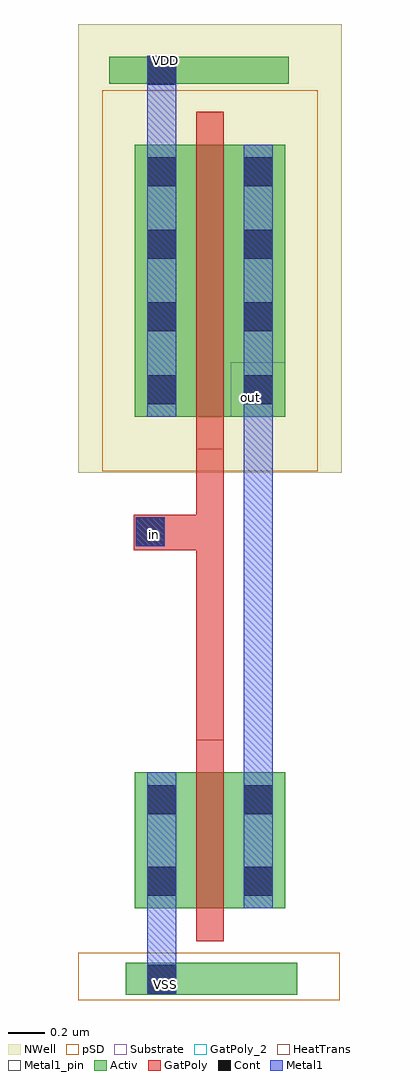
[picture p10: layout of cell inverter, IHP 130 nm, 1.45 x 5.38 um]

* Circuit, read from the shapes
.subckt inverter VDD VSS in out
XM1 out in VSS VSS sg13_lv_nmos w=0.75u l=0.15u
XM2 out in VDD VDD sg13_lv_pmos w=1.5u l=0.15u
.ends

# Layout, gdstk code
import gdstk
lib = gdstk.Library(unit=1e-6, precision=5e-09)
def R(c, l, rs):  # rectangles x0, y0, x1, y1
    for r in rs: c.add(gdstk.rectangle(r[:2], r[2:], *l))
def A(c, l, x, y, w, h, nx, ny, dx, dy):  # array of equal rectangles
    R(c, l, [(x+i*dx, y+j*dy, x+i*dx+w, y+j*dy+h) for i in range(nx) for j in range(ny)])
Activ = (1, 0)
GatPoly = (5, 0)
GatPoly_2 = (5, 2)
Cont = (6, 0)
Metal1 = (8, 0)
Metal1_pin = (8, 2)
pSD = (14, 0)
NWell = (31, 0)
Substrate = (40, 0)
HeatTrans = (51, 0)

nmos = lib.new_cell('nmos')
R(nmos, Activ, [(0,0,0.3,0.3), (0,0,0.83,0.75), (0.53,0,0.83,0.3)])
R(nmos, GatPoly, [(0.34,-0.18,0.49,0.93)])
R(nmos, GatPoly_2, [(0.34,-0.18,0.49,0.93)])
R(nmos, Cont, [(0.07,0.07,0.23,0.23), (0.6,0.07,0.76,0.23), (0.07,0.52,0.23,0.68), (0.6,0.52,0.76,0.68)])
R(nmos, Metal1, [(0.07,0,0.23,0.75), (0.6,0,0.76,0.75)])
R(nmos, Metal1_pin, [(0.07,0,0.23,0.75), (0.6,0,0.76,0.75)])
R(nmos, HeatTrans, [(0.34,-0.18,0.49,0.93)])
nmos.add(gdstk.Label('nmos', (0.415,0.375), layer=63, texttype=0))
nmos.add(gdstk.Label('nmos', (0.415,0.375), layer=51, texttype=0))

pmos_1_1 = lib.new_cell('pmos$1$1')
R(pmos_1_1, Activ, [(0,0,0.3,0.3), (0,0,0.83,1.5), (0.53,0,0.83,0.3)])
R(pmos_1_1, GatPoly, [(0.34,-0.18,0.49,1.68), (0.34,-0.18,0.49,1.68)])
A(pmos_1_1, Cont, 0.07, 0.07, 0.16, 0.16, 1, 4, 0, 0.4)
A(pmos_1_1, Cont, 0.6, 0.07, 0.16, 0.16, 1, 4, 0, 0.4)
R(pmos_1_1, Metal1, [(0.07,0,0.23,1.5), (0.07,0,0.23,1.5), (0.6,0,0.76,1.5), (0.6,0,0.76,1.5)])
R(pmos_1_1, pSD, [(-0.18,-0.3,1.01,1.8)])
R(pmos_1_1, NWell, [(-0.31,-0.31,1.14,1.81)])
R(pmos_1_1, Substrate, [(0.53,0,0.83,0.3)])
R(pmos_1_1, HeatTrans, [(0.34,-0.18,0.49,1.68)])
pmos_1_1.add(gdstk.Label('pmos', (0.415,0.75), layer=63, texttype=0))
pmos_1_1.add(gdstk.Label('pmos', (0.415,0.75), layer=51, texttype=0))

inverter = lib.new_cell('inverter')
R(inverter, Activ, [(-0.48,-2.175,0.465,-2), (-0.57,2.845,0.42,2.995)])
R(inverter, GatPoly, [(-0.09,-0.77,0.06,0.83), (-0.435,0.275,-0.135,0.47), (-0.135,0.275,-0.09,0.47)])
R(inverter, Cont, [(-0.36,-2.17,-0.2,-2.01), (-0.425,0.295,-0.265,0.455), (-0.36,2.84,-0.2,3)])
R(inverter, Metal1, [(-0.36,-2.17,-0.2,-2.01), (-0.36,-2.01,-0.2,-1.7), (0.17,-1.175,0.33,1.235), (-0.425,0.295,-0.265,0.455), (-0.36,2.51,-0.2,2.84), (-0.36,2.84,-0.2,3)])
R(inverter, Metal1_pin, [(-0.36,-2.17,-0.2,-2.01), (-0.425,0.295,-0.265,0.455), (0.17,1.08,0.33,1.24), (-0.36,2.84,-0.2,3)])
R(inverter, pSD, [(-0.74,-2.205,0.7,-1.945)])
R(inverter, NWell, [(-0.74,2.82,0.71,3.175)])
inverter.add(gdstk.Reference(nmos, (-0.43,-1.7)))
inverter.add(gdstk.Reference(pmos_1_1, (-0.43,1.01)))
inverter.add(gdstk.Label('out', (0.21,1.115), layer=8, texttype=2))
inverter.add(gdstk.Label('VSS', (-0.26,-2.12), layer=8, texttype=2))
inverter.add(gdstk.Label('VDD', (-0.26,2.975), layer=8, texttype=2))
inverter.add(gdstk.Label('in', (-0.32,0.36), layer=8, texttype=2))

lib.write_gds('inverter.gds')
